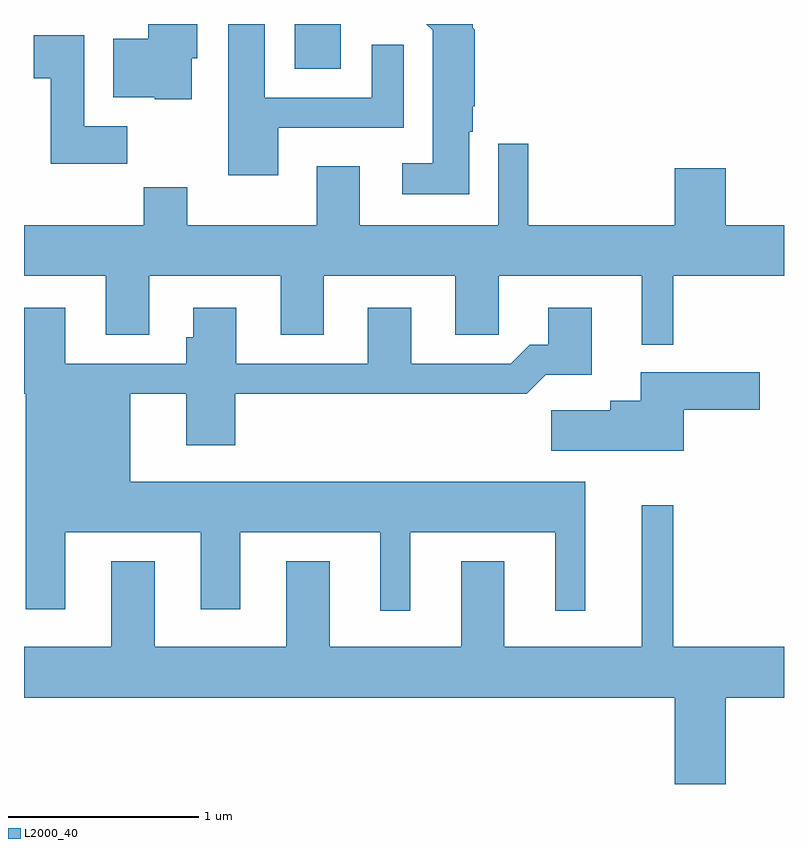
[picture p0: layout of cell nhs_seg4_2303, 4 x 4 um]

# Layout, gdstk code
import gdstk
lib = gdstk.Library(unit=1e-6, precision=1e-09)
def R(c, l, rs):  # rectangles x0, y0, x1, y1
    for r in rs: c.add(gdstk.rectangle(r[:2], r[2:], *l))
def P(c, l, *ps):  # polygons
    for p in ps: c.add(gdstk.Polygon(p, *l))
L2000_40 = (2000, 40)

nhs_seg4_2303 = lib.new_cell('nhs_seg4_2303')
R(nhs_seg4_2303, L2000_40, [(253.036,1375.746,253.279,1375.982)])
P(nhs_seg4_2303, L2000_40, [(252.494,1375.801),(252.524,1375.801),(252.524,1375.982),(252.266,1375.982),(252.266,1375.904),(252.081,1375.904),(252.081,1375.596),(252.3,1375.596),(252.3,1375.586),(252.494,1375.586)],
  [(253.954,1375.416),(253.974,1375.416),(253.974,1375.55),(253.984,1375.55),(253.984,1375.951),(253.974,1375.961),(253.974,1375.982),(253.728,1375.982),(253.761,1375.949),(253.761,1375.249),(253.603,1375.249),(253.603,1375.086),(253.954,1375.086)],
  [(252.949,1375.436),(253.609,1375.436),(253.609,1375.873),(253.441,1375.873),(253.441,1375.594),(252.879,1375.594),(252.879,1375.982),(252.686,1375.982),(252.686,1375.186),(252.949,1375.186)],
  [(252.154,1375.444),(251.929,1375.444),(251.929,1375.924),(251.661,1375.924),(251.661,1375.696),(251.751,1375.696),(251.751,1375.246),(252.154,1375.246)],
  [(255.029,1374.656),(255.611,1374.656),(255.611,1374.924),(255.304,1374.924),(255.304,1375.224),(255.036,1375.224),(255.036,1374.924),(254.264,1374.924),(254.264,1375.353),(254.106,1375.353),(254.106,1374.924),(253.379,1374.924),(253.379,1375.234),(253.151,1375.234),(253.151,1374.924),(252.469,1374.924),(252.469,1375.124),(252.241,1375.124),(252.241,1374.924),(251.611,1374.924),(251.611,1374.656),(252.041,1374.656),(252.041,1374.346),(252.269,1374.346),(252.269,1374.656),(252.961,1374.656),(252.961,1374.346),(253.189,1374.346),(253.189,1374.656),(253.881,1374.656),(253.881,1374.346),(254.109,1374.346),(254.109,1374.656),(254.861,1374.656),(254.861,1374.293),(255.029,1374.293)],
  [(253.644,1373.306),(254.406,1373.306),(254.406,1372.893),(254.564,1372.893),(254.564,1373.574),(252.169,1373.574),(252.169,1374.036),(252.466,1374.036),(252.466,1373.766),(252.724,1373.766),(252.724,1374.036),(254.257,1374.036),(254.357,1374.136),(254.599,1374.136),(254.599,1374.489),(254.371,1374.489),(254.371,1374.294),(254.274,1374.294),(254.174,1374.194),(253.649,1374.194),(253.649,1374.489),(253.421,1374.489),(253.421,1374.194),(252.729,1374.194),(252.729,1374.489),(252.501,1374.489),(252.501,1374.334),(252.466,1374.334),(252.466,1374.194),(251.829,1374.194),(251.829,1374.489),(251.611,1374.489),(251.611,1374.036),(251.621,1374.036),(251.621,1372.901),(251.829,1372.901),(251.829,1373.306),(252.541,1373.306),(252.541,1372.901),(252.749,1372.901),(252.749,1373.306),(253.486,1373.306),(253.486,1372.893),(253.644,1372.893)],
  [(255.084,1373.951),(255.484,1373.951),(255.484,1374.149),(254.856,1374.149),(254.856,1373.999),(254.696,1373.999),(254.696,1373.949),(254.386,1373.949),(254.386,1373.736),(255.084,1373.736)],
  [(255.304,1372.436),(255.611,1372.436),(255.611,1372.704),(255.029,1372.704),(255.029,1373.448),(254.861,1373.448),(254.861,1372.704),(254.139,1372.704),(254.139,1373.154),(253.911,1373.154),(253.911,1372.704),(253.219,1372.704),(253.219,1373.154),(252.991,1373.154),(252.991,1372.704),(252.299,1372.704),(252.299,1373.154),(252.071,1373.154),(252.071,1372.704),(251.611,1372.704),(251.611,1372.436),(255.036,1372.436),(255.036,1371.982),(255.304,1371.982)])

lib.write_gds('nhs_seg4_2303.gds')
